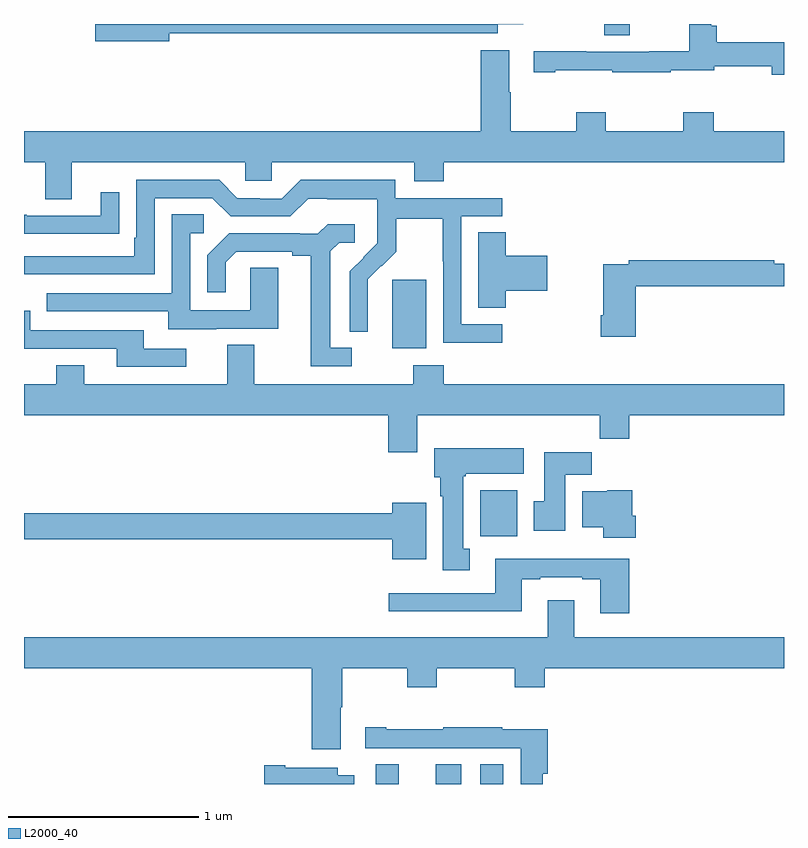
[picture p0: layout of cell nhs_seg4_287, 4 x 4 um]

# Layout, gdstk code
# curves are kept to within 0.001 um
import gdstk
lib = gdstk.Library(unit=1e-6, precision=1e-09)
def R(c, l, rs):  # rectangles x0, y0, x1, y1
    for r in rs: c.add(gdstk.rectangle(r[:2], r[2:], *l))
def P(c, l, *ps):  # polygons
    for p in ps: c.add(gdstk.Polygon(p, *l))
L2000_40 = (2000, 40)

nhs_seg4_287 = lib.new_cell('nhs_seg4_287')
R(nhs_seg4_287, L2000_40, [(126.851,774.9,126.973,775.004), (127.166,774.9,127.3,775.004), (127.4,774.9,127.522,775.003), (127.4,776.204,127.597,776.446), (126.938,777.194,127.117,777.555), (128.054,778.84,128.188,778.9)])
P(nhs_seg4_287, L2000_40, [(125.764,778.852),(127.494,778.852),(127.494,778.898),(127.627,778.898),(127.627,778.9),(125.376,778.9),(125.376,778.81),(125.764,778.81)],
  [(129,778.805),(128.645,778.805),(128.645,778.891),(128.618,778.891),(128.618,778.9),(128.502,778.9),(128.502,778.756),(128.292,778.756),(128.292,778.755),(127.958,778.755),(127.958,778.757),(127.683,778.757),(127.683,778.647),(127.795,778.647),(127.795,778.657),(128.095,778.657),(128.095,778.647),(128.405,778.647),(128.405,778.657),(128.632,778.657),(128.632,778.677),(128.936,778.677),(128.936,778.634),(129,778.634)],
  [(125.251,778.172),(126.165,778.172),(126.165,778.074),(126.303,778.074),(126.303,778.172),(127.055,778.172),(127.055,778.073),(127.208,778.073),(127.208,778.172),(129,778.172),(129,778.336),(128.63,778.336),(128.63,778.435),(128.47,778.435),(128.47,778.336),(128.061,778.336),(128.061,778.435),(127.906,778.435),(127.906,778.336),(127.563,778.336),(127.563,778.541),(127.555,778.541),(127.555,778.762),(127.403,778.762),(127.403,778.336),(125,778.336),(125,778.172),(125.111,778.172),(125.111,777.978),(125.251,777.978)],
  [(127.516,777.321),(127.302,777.321),(127.302,777.888),(127.516,777.888),(127.516,777.984),(126.954,777.984),(126.954,778.081),(126.457,778.081),(126.357,777.981),(126.242,777.981),(126.242,777.984),(126.123,777.984),(126.027,778.08),(125.592,778.08),(125.592,777.775),(125.579,777.775),(125.579,777.678),(125,777.678),(125,777.582),(125.688,777.582),(125.688,777.984),(125.991,777.984),(126.087,777.888),(126.402,777.888),(126.495,777.981),(126.595,777.981),(126.595,777.977),(126.858,777.977),(126.858,777.843),(126.86,777.843),(126.86,777.746),(126.714,777.598),(126.714,777.28),(126.81,777.28),(126.809,777.557),(126.879,777.627),(126.882,777.624),(126.959,777.701),(126.959,777.876),(127.204,777.876),(127.204,777.652),(127.206,777.652),(127.206,777.223),(127.516,777.223)],
  [(125.399,777.796),(125.501,777.796),(125.501,778.015),(125.405,778.015),(125.405,777.891),(125.015,777.891),(125.015,777.896),(125,777.896),(125,777.795),(125.399,777.795)],
  [(126.013,777.297),(126.337,777.297),(126.337,777.617),(126.192,777.617),(126.192,777.393),(125.874,777.393),(125.874,777.798),(125.947,777.798),(125.947,777.899),(125.778,777.899),(125.778,777.483),(125.119,777.483),(125.119,777.387),(125.759,777.387),(125.759,777.293),(126.013,777.293)],
  [(126.724,777.195),(126.613,777.195),(126.613,777.703),(126.66,777.75),(126.742,777.75),(126.742,777.847),(126.598,777.847),(126.546,777.795),(126.452,777.795),(126.452,777.798),(126.08,777.798),(125.964,777.682),(125.964,777.489),(126.061,777.489),(126.061,777.645),(126.118,777.702),(126.413,777.702),(126.413,777.68),(126.509,777.68),(126.509,777.099),(126.724,777.099)],
  [(127.535,777.497),(127.753,777.497),(127.753,777.68),(127.535,777.68),(127.535,777.803),(127.391,777.803),(127.391,777.406),(127.535,777.406)],
  [(128.219,777.52),(129,777.52),(129,777.637),(128.948,777.637),(128.948,777.656),(128.182,777.656),(128.182,777.636),(128.048,777.636),(128.048,777.367),(128.036,777.367),(128.036,777.255),(128.219,777.255)],
  [(125.854,777.192),(125.629,777.192),(125.629,777.288),(125.034,777.288),(125.034,777.391),(125,777.391),(125,777.192),(125.489,777.192),(125.489,777.096),(125.854,777.096)],
  [(127.069,776.84),(128.029,776.84),(128.029,776.716),(128.186,776.716),(128.186,776.84),(129,776.84),(129,777.004),(127.208,777.004),(127.208,777.103),(127.048,777.103),(127.048,777.004),(126.211,777.004),(126.211,777.212),(126.071,777.212),(126.071,777.004),(125.317,777.004),(125.317,777.103),(125.17,777.103),(125.17,777.004),(125,777.004),(125,776.84),(126.917,776.84),(126.917,776.646),(127.069,776.646)],
  [(127.345,776.138),(127.312,776.138),(127.312,776.521),(127.326,776.521),(127.326,776.534),(127.63,776.534),(127.63,776.668),(127.16,776.668),(127.16,776.514),(127.19,776.514),(127.19,776.414),(127.205,776.414),(127.205,776.025),(127.345,776.025)],
  [(127.849,776.528),(127.988,776.528),(127.988,776.647),(127.739,776.647),(127.739,776.388),(127.682,776.388),(127.682,776.232),(127.849,776.232)],
  [(128.219,776.313),(128.201,776.313),(128.201,776.446),(128.07,776.446),(128.07,776.44),(127.937,776.44),(127.937,776.252),(128.048,776.252),(128.048,776.195),(128.219,776.195)],
  [(127.117,776.38),(126.938,776.38),(126.938,776.324),(125,776.324),(125,776.188),(126.938,776.188),(126.938,776.084),(127.117,776.084)],
  [(128.186,776.086),(127.481,776.086),(127.481,775.905),(126.921,775.905),(126.921,775.808),(127.621,775.808),(127.621,775.977),(127.717,775.977),(127.717,775.989),(127.937,775.989),(127.937,775.977),(128.033,775.977),(128.033,775.8),(128.186,775.8)],
  [(126.667,775.304),(126.675,775.304),(126.675,775.508),(127.018,775.508),(127.018,775.409),(127.173,775.409),(127.173,775.508),(127.582,775.508),(127.582,775.409),(127.742,775.409),(127.742,775.508),(129,775.508),(129,775.672),(127.897,775.672),(127.897,775.867),(127.757,775.867),(127.757,775.672),(125,775.672),(125,775.508),(126.515,775.508),(126.515,775.083),(126.667,775.083)],
  [(127.73,774.953),(127.757,774.953),(127.757,775.188),(127.517,775.188),(127.517,775.198),(127.207,775.198),(127.207,775.188),(126.907,775.188),(126.907,775.198),(126.795,775.198),(126.795,775.089),(127.614,775.089),(127.614,774.9),(127.73,774.9)],
  [(126.739,774.946),(126.652,774.946),(126.652,774.985),(126.376,774.985),(126.376,774.998),(126.264,774.998),(126.264,774.9),(126.739,774.9)])

lib.write_gds('nhs_seg4_287.gds')
